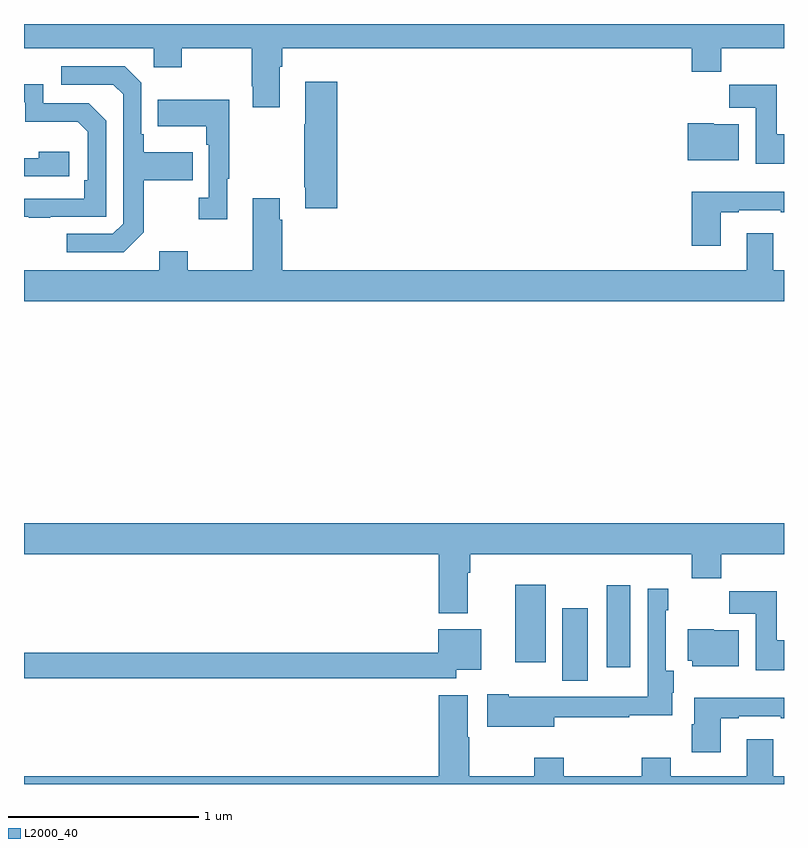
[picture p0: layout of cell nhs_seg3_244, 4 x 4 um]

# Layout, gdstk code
import gdstk
lib = gdstk.Library(unit=1e-6, precision=1e-09)
def R(c, l, rs):  # rectangles x0, y0, x1, y1
    for r in rs: c.add(gdstk.rectangle(r[:2], r[2:], *l))
def P(c, l, *ps):  # polygons
    for p in ps: c.add(gdstk.Polygon(p, *l))
L2000_40 = (2000, 40)

nhs_seg3_244 = lib.new_cell('nhs_seg3_244')
R(nhs_seg3_244, L2000_40, [(125.834,674.944,125.968,675.325), (126.068,675.015,126.19,675.445), (125.585,675.042,125.746,675.448)])
P(nhs_seg3_244, L2000_40, [(124.345,678.176),(124.358,678.176),(124.358,678.272),(126.515,678.272),(126.515,678.148),(126.671,678.148),(126.671,678.272),(127,678.272),(127,678.4),(123,678.4),(123,678.272),(123.684,678.272),(123.684,678.173),(123.831,678.173),(123.831,678.272),(124.198,678.272),(124.198,678.073),(124.205,678.073),(124.205,677.961),(124.345,677.961)],
  [(123.631,677.305),(123.631,677.578),(123.887,677.578),(123.887,677.725),(123.631,677.725),(123.631,677.821),(123.618,677.821),(123.618,678.09),(123.531,678.177),(123.195,678.177),(123.195,678.081),(123.471,678.081),(123.522,678.03),(123.522,677.349),(123.468,677.295),(123.225,677.295),(123.225,677.199),(123.525,677.199)],
  [(124.649,678.097),(124.481,678.097),(124.481,677.873),(124.474,677.873),(124.474,677.542),(124.481,677.542),(124.481,677.43),(124.649,677.43)],
  [(123.137,677.385),(123.432,677.385),(123.432,677.892),(123.342,677.982),(123.102,677.982),(123.102,678.084),(123,678.084),(123,677.988),(123.006,677.988),(123.006,677.885),(123.283,677.885),(123.336,677.832),(123.336,677.578),(123.316,677.578),(123.316,677.481),(123,677.481),(123,677.385),(123.025,677.385),(123.025,677.38),(123.137,677.38)],
  [(127,677.82),(126.961,677.82),(126.961,678.079),(126.712,678.079),(126.712,677.96),(126.851,677.96),(126.851,677.664),(127,677.664)],
  [(124.069,677.585),(124.081,677.585),(124.081,678.001),(123.703,678.001),(123.703,677.861),(123.96,677.861),(123.96,677.765),(123.972,677.765),(123.972,677.486),(123.921,677.486),(123.921,677.373),(124.069,677.373)],
  [(126.763,677.872),(126.63,677.872),(126.63,677.878),(126.494,677.878),(126.494,677.684),(126.763,677.684)],
  [(123.238,677.728),(123.077,677.728),(123.077,677.694),(123,677.694),(123,677.598),(123.238,677.598)],
  [(126.667,677.409),(126.763,677.409),(126.763,677.421),(126.983,677.421),(126.983,677.409),(127,677.409),(127,677.518),(126.515,677.518),(126.515,677.232),(126.667,677.232)],
  [(127,677.104),(126.943,677.104),(126.943,677.299),(126.803,677.299),(126.803,677.104),(124.358,677.104),(124.358,677.369),(124.345,677.369),(124.345,677.482),(124.205,677.482),(124.205,677.104),(123.861,677.104),(123.861,677.203),(123.713,677.203),(123.713,677.104),(123,677.104),(123,676.94),(127,676.94)],
  [(125.335,675.512),(125.348,675.512),(125.348,675.608),(126.515,675.608),(126.515,675.484),(126.671,675.484),(126.671,675.608),(127,675.608),(127,675.772),(123,675.772),(123,675.608),(125.183,675.608),(125.183,675.299),(125.335,675.299)],
  [(125.791,674.751),(126.185,674.751),(126.185,674.761),(126.412,674.761),(126.412,674.879),(126.42,674.879),(126.42,674.995),(126.378,674.995),(126.378,675.314),(126.391,675.314),(126.391,675.427),(126.282,675.427),(126.282,674.86),(126.072,674.86),(126.072,674.859),(125.551,674.859),(125.551,674.873),(125.439,674.873),(125.439,674.702),(125.791,674.702)],
  [(127,675.156),(126.961,675.156),(126.961,675.415),(126.712,675.415),(126.712,675.296),(126.851,675.296),(126.851,675),(127,675)],
  [(126.763,675.208),(126.63,675.208),(126.63,675.214),(126.494,675.214),(126.494,675.048),(126.516,675.048),(126.516,675.02),(126.763,675.02)],
  [(125.274,675.002),(125.407,675.002),(125.407,675.214),(125.18,675.214),(125.18,675.092),(123,675.092),(123,674.956),(125.274,674.956)],
  [(127,674.44),(126.943,674.44),(126.943,674.635),(126.803,674.635),(126.803,674.44),(126.405,674.44),(126.405,674.539),(126.25,674.539),(126.25,674.44),(125.841,674.44),(125.841,674.539),(125.686,674.539),(125.686,674.44),(125.343,674.44),(125.343,674.645),(125.335,674.645),(125.335,674.866),(125.183,674.866),(125.183,674.44),(123,674.44),(123,674.4),(127,674.4)],
  [(126.667,674.745),(126.763,674.745),(126.763,674.757),(126.983,674.757),(126.983,674.745),(127,674.745),(127,674.854),(126.527,674.854),(126.527,674.715),(126.515,674.715),(126.515,674.568),(126.667,674.568)])

lib.write_gds('nhs_seg3_244.gds')
